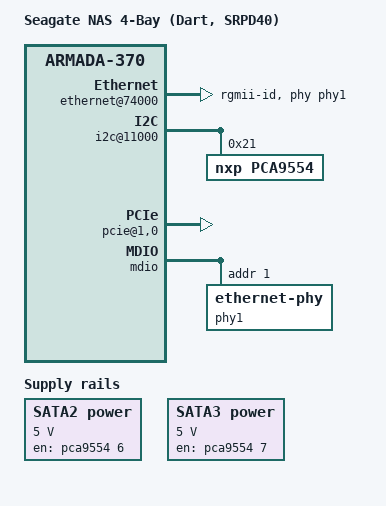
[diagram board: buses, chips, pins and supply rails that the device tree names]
// SPDX-License-Identifier: GPL-2.0
/*
 * Device Tree file for Seagate NAS 4-Bay (Armada 370 SoC).
 *
 * Copyright (C) 2015 Seagate
 *
 * Author: Vincent Donnefort <vdonnefort@gmail.com>
 */

/*
 * Here are some information allowing to identify the device:
 *
 * Product name                 : Seagate NAS 4-Bay
 * Code name (board/PCB)        : Dart 4-Bay
 * Model name (case sticker)    : SRPD40
 * Material desc (product spec) : STCUxxxxxxx
 */

/dts-v1/;
#include "armada-370-seagate-nas-xbay.dtsi"
#include <dt-bindings/leds/leds-ns2.h>

/ {
	model = "Seagate NAS 4-Bay (Dart, SRPD40)";
	compatible = "seagate,dart-4", "marvell,armada370", "marvell,armada-370-xp";

	soc {
		internal-regs {
			ethernet@74000 {
				status = "okay";
				pinctrl-0 = <&ge1_rgmii_pins>;
				pinctrl-names = "default";
				phy = <&phy1>;
				phy-mode = "rgmii-id";
			};

			i2c@11000 {
				/* I2C GPIO expander (PCA9554A) */
				pca9554: pca9554@21 {
					compatible = "nxp,pca9554";
					reg = <0x21>;
					#gpio-cells = <2>;
					gpio-controller;
				};
			};
		};
	};

	regulator-3 {
		compatible = "regulator-fixed";
		regulator-name = "SATA2 power";
		regulator-min-microvolt = <5000000>;
		regulator-max-microvolt = <5000000>;
		enable-active-high;
		regulator-always-on;
		regulator-boot-on;
		gpio = <&pca9554 6 GPIO_ACTIVE_HIGH>;
	};

	regulator-4 {
		compatible = "regulator-fixed";
		regulator-name = "SATA3 power";
		regulator-min-microvolt = <5000000>;
		regulator-max-microvolt = <5000000>;
		enable-active-high;
		regulator-always-on;
		regulator-boot-on;
		gpio = <&pca9554 7 GPIO_ACTIVE_HIGH>;
	};

	gpio-leds {
		led-red-sata2 {
			label = "dart:red:sata2";
			gpios = <&pca9554 0 GPIO_ACTIVE_LOW>;
		};
		led-red-sata3 {
			label = "dart:red:sata3";
			gpios = <&pca9554 3 GPIO_ACTIVE_LOW>;
		};
	};

	leds-ns2 {
		compatible = "lacie,ns2-leds";

		white-sata2 {
			label = "dart:white:sata2";
			cmd-gpio = <&pca9554 1 GPIO_ACTIVE_HIGH>;
			slow-gpio = <&pca9554 2 GPIO_ACTIVE_HIGH>;
			num-modes = <4>;
			modes-map = <NS_V2_LED_SATA 0 0
				     NS_V2_LED_OFF  0 1
				     NS_V2_LED_ON   1 0
				     NS_V2_LED_ON   1 1>;
		};
		white-sata3 {
			label = "dart:white:sata3";
			cmd-gpio = <&pca9554 4 GPIO_ACTIVE_HIGH>;
			slow-gpio = <&pca9554 5 GPIO_ACTIVE_HIGH>;
			num-modes = <4>;
			modes-map = <NS_V2_LED_SATA 0 0
				     NS_V2_LED_OFF  0 1
				     NS_V2_LED_ON   1 0
				     NS_V2_LED_ON   1 1>;
		};
	};

	gpio-fan {
		gpio-fan,speed-map =
			<   0 3>,
			< 800 2>,
			<1050 1>,
			<1300 0>;
	};
};

&pciec {
	/* SATA AHCI controller 88SE9170 */
	pcie@1,0 {
		status = "okay";
	};
};

&mdio {
	phy1: ethernet-phy@1 {
		reg = <1>;
	};
};

